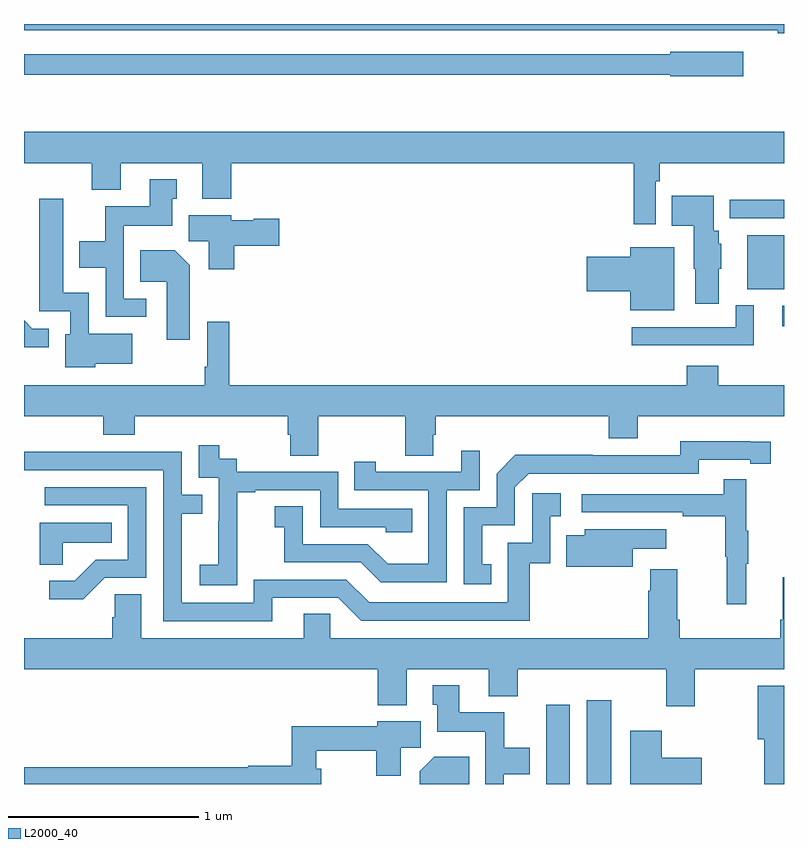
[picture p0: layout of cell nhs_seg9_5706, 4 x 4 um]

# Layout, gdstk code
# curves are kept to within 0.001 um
import gdstk
lib = gdstk.Library(unit=1e-6, precision=1e-09)
def R(c, l, rs):  # rectangles x0, y0, x1, y1
    for r in rs: c.add(gdstk.rectangle(r[:2], r[2:], *l))
def P(c, l, *ps):  # polygons
    for p in ps: c.add(gdstk.Polygon(p, *l))
L2000_40 = (2000, 40)

nhs_seg9_5706 = lib.new_cell('nhs_seg9_5706')
R(nhs_seg9_5706, L2000_40, [(445.748,1178.5,445.873,1178.917), (445.961,1178.5,446.092,1178.941), (446.991,1180.908,447,1181.016), (446.807,1181.105,447,1181.389)])
P(nhs_seg9_5706, L2000_40, [(447,1182.5),(443,1182.5),(443,1182.468),(446.966,1182.468),(446.966,1182.452),(447,1182.452)],
  [(446.785,1182.355),(446.4,1182.355),(446.4,1182.342),(443,1182.342),(443,1182.234),(446.4,1182.234),(446.4,1182.226),(446.785,1182.226)],
  [(446.325,1181.672),(446.345,1181.672),(446.345,1181.768),(447,1181.768),(447,1181.932),(443,1181.932),(443,1181.768),(443.357,1181.768),(443.357,1181.627),(443.509,1181.627),(443.509,1181.768),(443.939,1181.768),(443.939,1181.579),(444.092,1181.579),(444.092,1181.768),(446.209,1181.768),(446.209,1181.445),(446.325,1181.445)],
  [(443.644,1181.055),(443.526,1181.055),(443.526,1181.438),(443.779,1181.438),(443.779,1181.58),(443.803,1181.58),(443.803,1181.683),(443.663,1181.683),(443.663,1181.542),(443.428,1181.542),(443.428,1181.356),(443.291,1181.356),(443.291,1181.216),(443.43,1181.216),(443.43,1180.959),(443.644,1180.959)],
  [(446.656,1181.211),(446.671,1181.211),(446.671,1181.343),(446.656,1181.343),(446.656,1181.412),(446.629,1181.412),(446.629,1181.596),(446.41,1181.596),(446.41,1181.438),(446.525,1181.438),(446.525,1181.211),(446.534,1181.211),(446.534,1181.028),(446.656,1181.028)],
  [(443.376,1180.712),(443.569,1180.712),(443.569,1180.87),(443.34,1180.87),(443.34,1181.086),(443.206,1181.086),(443.206,1181.581),(443.081,1181.581),(443.081,1180.989),(443.244,1180.989),(443.244,1180.866),(443.216,1180.866),(443.216,1180.694),(443.376,1180.694)],
  [(447,1181.574),(446.957,1181.574),(446.957,1181.576),(446.715,1181.576),(446.715,1181.478),(447,1181.478)],
  [(444.107,1181.333),(444.343,1181.333),(444.343,1181.475),(444.21,1181.475),(444.21,1181.467),(444.09,1181.467),(444.09,1181.494),(443.867,1181.494),(443.867,1181.356),(443.972,1181.356),(443.972,1181.208),(444.107,1181.208)],
  [(446.422,1181.326),(446.192,1181.326),(446.192,1181.276),(445.962,1181.276),(445.962,1181.093),(446.192,1181.093),(446.192,1180.994),(446.422,1180.994)],
  [(443.872,1181.23),(443.794,1181.308),(443.611,1181.308),(443.611,1181.144),(443.75,1181.144),(443.75,1180.839),(443.872,1180.839)],
  [(446.842,1181.02),(446.745,1181.02),(446.745,1180.905),(446.199,1180.905),(446.199,1180.809),(446.842,1180.809)],
  [(443.131,1180.896),(443.043,1180.896),(443,1180.94),(443,1180.799),(443.131,1180.799)],
  [(444.549,1180.436),(445.006,1180.436),(445.006,1180.228),(445.153,1180.228),(445.153,1180.338),(445.166,1180.338),(445.166,1180.436),(446.078,1180.436),(446.078,1180.319),(446.23,1180.319),(446.23,1180.436),(447,1180.436),(447,1180.6),(446.654,1180.6),(446.654,1180.702),(446.489,1180.702),(446.489,1180.6),(444.08,1180.6),(444.08,1180.933),(443.964,1180.933),(443.964,1180.696),(443.952,1180.696),(443.952,1180.6),(443,1180.6),(443,1180.436),(443.417,1180.436),(443.417,1180.337),(443.582,1180.337),(443.582,1180.436),(444.389,1180.436),(444.389,1180.338),(444.401,1180.338),(444.401,1180.228),(444.549,1180.228)],
  [(445.46,1179.657),(445.411,1179.657),(445.411,1179.861),(445.584,1179.861),(445.584,1180.062),(445.656,1180.134),(446.55,1180.134),(446.55,1180.206),(446.822,1180.206),(446.822,1180.186),(446.93,1180.186),(446.93,1180.302),(446.454,1180.303),(446.454,1180.23),(445.994,1180.23),(445.994,1180.232),(445.586,1180.232),(445.488,1180.134),(445.488,1179.957),(445.314,1179.957),(445.314,1179.552),(445.46,1179.552)],
  [(444.123,1179.751),(444.122,1179.751),(444.122,1180.035),(444.217,1180.035),(444.217,1180.047),(444.558,1180.047),(444.558,1179.852),(444.903,1179.852),(444.903,1179.825),(445.043,1179.825),(445.043,1179.948),(444.654,1179.948),(444.654,1180.143),(444.12,1180.143),(444.12,1180.212),(444.028,1180.212),(444.028,1180.282),(443.919,1180.282),(443.919,1180.113),(444.024,1180.113),(444.024,1179.884),(444.023,1179.884),(444.023,1179.655),(443.925,1179.655),(443.925,1179.545),(444.123,1179.545)],
  [(445.224,1180.047),(445.398,1180.047),(445.398,1180.255),(445.301,1180.255),(445.301,1180.143),(444.85,1180.143),(444.85,1180.195),(444.739,1180.195),(444.739,1180.047),(445.128,1180.047),(445.128,1179.658),(444.914,1179.658),(444.81,1179.762),(444.468,1179.762),(444.468,1179.961),(444.321,1179.961),(444.321,1179.851),(444.37,1179.851),(444.37,1179.666),(444.773,1179.666),(444.878,1179.561),(445.224,1179.561)],
  [(444.307,1179.48),(444.654,1179.48),(444.774,1179.36),(445.661,1179.36),(445.661,1179.663),(445.77,1179.663),(445.77,1179.909),(445.825,1179.909),(445.825,1180.03),(445.674,1180.03),(445.674,1179.771),(445.545,1179.771),(445.545,1179.456),(444.816,1179.456),(444.696,1179.576),(444.21,1179.576),(444.21,1179.453),(443.829,1179.453),(443.829,1179.922),(443.939,1179.922),(443.939,1180.023),(443.829,1180.023),(443.829,1180.248),(443.333,1180.248),(443.333,1180.25),(443,1180.25),(443,1180.152),(443.733,1180.152),(443.733,1179.357),(444.307,1179.357)],
  [(446.801,1179.659),(446.812,1179.659),(446.812,1179.833),(446.801,1179.833),(446.801,1180.105),(446.683,1180.105),(446.683,1180.026),(445.935,1180.026),(445.935,1179.93),(446.467,1179.93),(446.467,1179.91),(446.691,1179.91),(446.691,1179.696),(446.698,1179.696),(446.698,1179.447),(446.801,1179.447)],
  [(443.424,1179.585),(443.643,1179.585),(443.643,1180.062),(443.109,1180.062),(443.109,1179.966),(443.547,1179.966),(443.547,1179.681),(443.378,1179.681),(443.267,1179.57),(443.133,1179.57),(443.133,1179.473),(443.311,1179.473)],
  [(443.205,1179.77),(443.462,1179.77),(443.462,1179.874),(443.084,1179.874),(443.084,1179.655),(443.205,1179.655)],
  [(446.203,1179.737),(446.38,1179.737),(446.38,1179.841),(445.952,1179.841),(445.952,1179.808),(445.855,1179.808),(445.855,1179.643),(446.203,1179.643)],
  [(446.437,1179.364),(446.437,1179.631),(446.297,1179.631),(446.297,1179.518),(446.285,1179.518),(446.285,1179.268),(444.612,1179.268),(444.612,1179.395),(444.473,1179.395),(444.473,1179.268),(443.617,1179.268),(443.617,1179.5),(443.478,1179.5),(443.478,1179.377),(443.465,1179.377),(443.465,1179.268),(443,1179.268),(443,1179.104),(444.863,1179.104),(444.863,1178.915),(445.015,1178.915),(445.015,1179.104),(445.445,1179.104),(445.445,1178.963),(445.598,1178.963),(445.598,1179.104),(446.381,1179.104),(446.381,1178.91),(446.529,1178.91),(446.529,1179.104),(447,1179.104),(447,1179.589),(446.993,1179.589),(446.993,1179.364),(446.981,1179.364),(446.981,1179.268),(446.45,1179.268),(446.45,1179.364)],
  [(445.524,1178.552),(445.663,1178.552),(445.663,1178.692),(445.527,1178.692),(445.527,1178.878),(445.291,1178.878),(445.291,1179.019),(445.151,1179.019),(445.151,1178.916),(445.175,1178.916),(445.175,1178.774),(445.428,1178.774),(445.428,1178.5),(445.524,1178.5)],
  [(447,1179.016),(446.861,1179.016),(446.861,1178.736),(446.897,1178.736),(446.897,1178.5),(447,1178.5)],
  [(444.564,1178.581),(444.538,1178.581),(444.538,1178.674),(444.853,1178.674),(444.853,1178.544),(444.982,1178.544),(444.982,1178.692),(445.087,1178.692),(445.087,1178.83),(444.86,1178.83),(444.86,1178.803),(444.409,1178.803),(444.409,1178.596),(444.18,1178.596),(444.18,1178.588),(443,1178.588),(443,1178.5),(444.564,1178.5)],
  [(446.566,1178.638),(446.356,1178.638),(446.356,1178.779),(446.192,1178.779),(446.192,1178.5),(446.566,1178.5)],
  [(445.343,1178.644),(445.16,1178.644),(445.082,1178.566),(445.082,1178.5),(445.343,1178.5)])

lib.write_gds('nhs_seg9_5706.gds')
